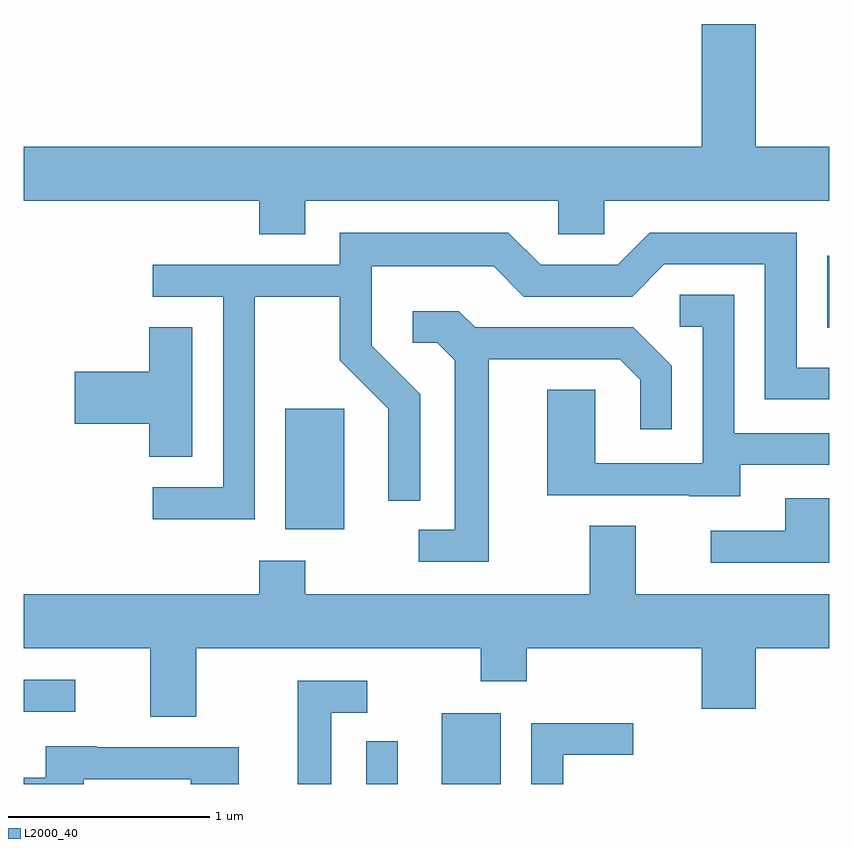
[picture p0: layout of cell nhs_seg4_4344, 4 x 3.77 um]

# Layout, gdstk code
import gdstk
lib = gdstk.Library(unit=1e-6, precision=1e-09)
def R(c, l, rs):  # rectangles x0, y0, x1, y1
    for r in rs: c.add(gdstk.rectangle(r[:2], r[2:], *l))
def P(c, l, *ps):  # polygons
    for p in ps: c.add(gdstk.Polygon(p, *l))
L2000_40 = (2000, 40)

nhs_seg4_4344 = lib.new_cell('nhs_seg4_4344')
R(nhs_seg4_4344, L2000_40, [(313.311,1373.982,313.469,1374.193), (313.686,1373.982,313.979,1374.334), (311.611,1374.341,311.868,1374.499), (312.911,1375.246,313.204,1375.844), (315.601,1376.246,315.611,1376.603)])
P(nhs_seg4_4344, L2000_40, [(313.009,1376.876),(314.266,1376.876),(314.266,1376.711),(314.494,1376.711),(314.494,1376.876),(315.611,1376.876),(315.611,1377.144),(315.244,1377.144),(315.244,1377.754),(314.976,1377.754),(314.976,1377.144),(311.611,1377.144),(311.611,1376.876),(312.781,1376.876),(312.781,1376.711),(313.009,1376.711)],
  [(312.759,1376.401),(313.181,1376.401),(313.181,1376.084),(313.421,1375.844),(313.421,1375.388),(313.579,1375.388),(313.579,1375.917),(313.339,1376.157),(313.339,1376.551),(313.944,1376.551),(314.094,1376.401),(314.632,1376.401),(314.792,1376.561),(315.291,1376.561),(315.291,1375.891),(315.611,1375.891),(315.611,1376.049),(315.449,1376.049),(315.449,1376.719),(314.719,1376.719),(314.559,1376.559),(314.177,1376.559),(314.017,1376.719),(313.181,1376.719),(313.181,1376.559),(312.253,1376.559),(312.253,1376.401),(312.601,1376.401),(312.601,1375.454),(312.253,1375.454),(312.253,1375.296),(312.759,1375.296)],
  [(315.169,1375.566),(315.611,1375.566),(315.611,1375.724),(315.139,1375.724),(315.139,1376.409),(314.868,1376.409),(314.868,1376.251),(314.981,1376.251),(314.981,1375.574),(314.449,1375.574),(314.449,1375.939),(314.211,1375.939),(314.211,1375.416),(314.915,1375.416),(314.915,1375.411),(315.169,1375.411)],
  [(313.919,1376.091),(314.569,1376.091),(314.671,1375.989),(314.671,1375.743),(314.829,1375.743),(314.829,1376.057),(314.637,1376.249),(313.852,1376.249),(313.772,1376.329),(313.543,1376.329),(313.543,1376.171),(313.664,1376.171),(313.751,1376.084),(313.751,1375.244),(313.573,1375.244),(313.573,1375.086),(313.919,1375.086)],
  [(312.449,1376.249),(312.236,1376.249),(312.236,1376.029),(311.866,1376.029),(311.866,1375.771),(312.236,1375.771),(312.236,1375.606),(312.449,1375.606)],
  [(315.611,1375.399),(315.391,1375.399),(315.391,1375.239),(315.023,1375.239),(315.023,1375.081),(315.611,1375.081)],
  [(312.469,1374.656),(313.881,1374.656),(313.881,1374.491),(314.109,1374.491),(314.109,1374.656),(314.976,1374.656),(314.976,1374.356),(315.244,1374.356),(315.244,1374.656),(315.611,1374.656),(315.611,1374.924),(314.649,1374.924),(314.649,1375.264),(314.421,1375.264),(314.421,1374.924),(313.009,1374.924),(313.009,1375.089),(312.781,1375.089),(312.781,1374.924),(311.611,1374.924),(311.611,1374.656),(312.241,1374.656),(312.241,1374.316),(312.469,1374.316)],
  [(313.139,1374.336),(313.318,1374.336),(313.318,1374.494),(312.971,1374.494),(312.971,1373.982),(313.139,1373.982)],
  [(314.289,1374.126),(314.638,1374.126),(314.638,1374.284),(314.131,1374.284),(314.131,1373.982),(314.289,1373.982)],
  [(311.909,1374.006),(312.441,1374.006),(312.441,1373.982),(312.679,1373.982),(312.679,1374.164),(311.975,1374.164),(311.975,1374.169),(311.721,1374.169),(311.721,1374.014),(311.611,1374.014),(311.611,1373.982),(311.909,1373.982)])

lib.write_gds('nhs_seg4_4344.gds')
